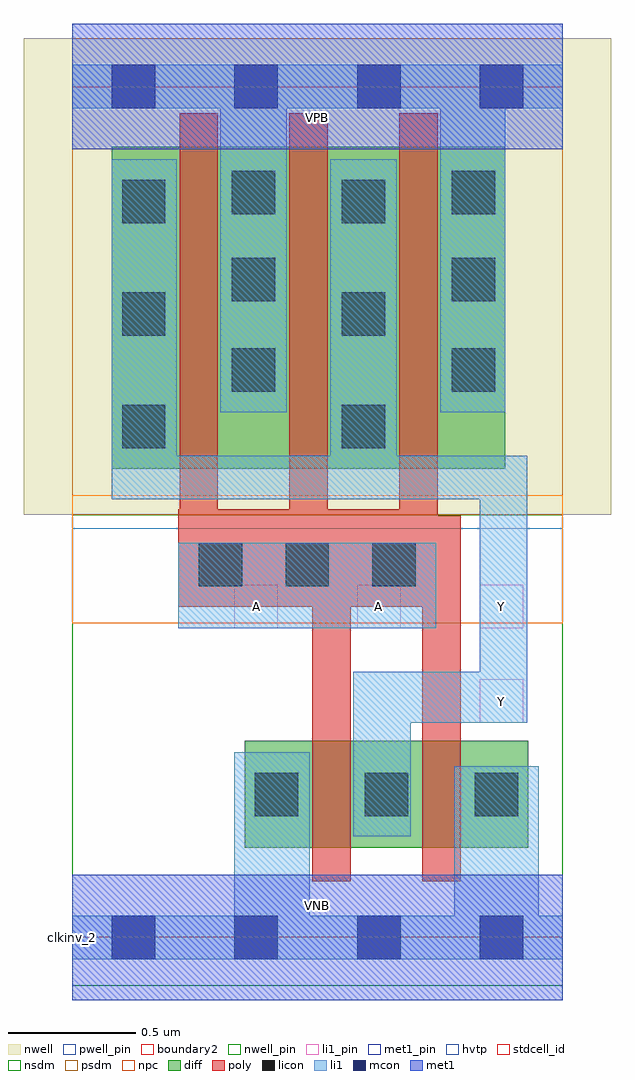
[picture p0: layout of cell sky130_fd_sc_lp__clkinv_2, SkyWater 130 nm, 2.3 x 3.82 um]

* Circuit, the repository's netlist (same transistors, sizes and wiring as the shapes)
* Copyright 2020 The SkyWater PDK Authors
*
* Licensed under the Apache License, Version 2.0 (the "License");
* you may not use this file except in compliance with the License.
* You may obtain a copy of the License at
*
*     https://www.apache.org/licenses/LICENSE-2.0
*
* Unless required by applicable law or agreed to in writing, software
* distributed under the License is distributed on an "AS IS" BASIS,
* WITHOUT WARRANTIES OR CONDITIONS OF ANY KIND, either express or implied.
* See the License for the specific language governing permissions and
* limitations under the License.
*
* SPDX-License-Identifier: Apache-2.0

.SUBCKT sky130_fd_sc_lp__clkinv_2 A VGND VNB VPB VPWR Y
*.PININFO A:I VGND:I VNB:I VPB:I VPWR:I Y:O
MMIN0 Y A VGND VNB sky130_fd_pr__nfet_01v8 m=2 w=0.42U l=0.15U mult=1 sa=0.265
+ sb=0.265 sd=0.28 area=0.063 perim=1.14
MMIP0 Y A VPWR VPB sky130_fd_pr__pfet_01v8_hvt m=3 w=1.26U l=0.15U mult=1 sa=0.265
+ sb=0.265 sd=0.28 area=0.063 perim=1.14
.ENDS sky130_fd_sc_lp__clkinv_2

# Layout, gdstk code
import gdstk
lib = gdstk.Library(unit=1e-6, precision=1e-09)
def R(c, l, rs):  # rectangles x0, y0, x1, y1
    for r in rs: c.add(gdstk.rectangle(r[:2], r[2:], *l))
def A(c, l, x, y, w, h, nx, ny, dx, dy):  # array of equal rectangles
    R(c, l, [(x+i*dx, y+j*dy, x+i*dx+w, y+j*dy+h) for i in range(nx) for j in range(ny)])
def P(c, l, *ps):  # polygons
    for p in ps: c.add(gdstk.Polygon(p, *l))
nwell_pin = (64, 16)
nwell = (64, 20)
diff = (65, 20)
poly = (66, 20)
licon = (66, 44)
li1_pin = (67, 16)
li1 = (67, 20)
mcon = (67, 44)
met1_pin = (68, 16)
met1 = (68, 20)
hvtp = (78, 44)
stdcell_id = (81, 4)
nsdm = (93, 44)
psdm = (94, 20)
npc = (95, 20)
pwell_pin = (122, 16)
boundary2 = (236, 0)

sky130_fd_sc_lp__clkinv_ = lib.new_cell('sky130_fd_sc_lp__clkinv_2')
R(sky130_fd_sc_lp__clkinv_, nwell_pin, [(0,3.085,1.92,3.33)])
R(sky130_fd_sc_lp__clkinv_, nwell, [(-0.19,1.655,2.11,3.52)])
R(sky130_fd_sc_lp__clkinv_, diff, [(0.675,0.35,1.785,0.77), (0.155,1.835,1.695,3.095)])
P(sky130_fd_sc_lp__clkinv_, poly, [(1.52,1.65),(1.43,1.65),(1.43,3.225),(1.28,3.225),(1.28,1.675),(1,1.675),(1,3.225),(0.85,3.225),(0.85,1.675),(0.57,1.675),(0.57,3.225),(0.42,3.225),(0.42,1.675),(0.415,1.675),(0.415,1.295),(0.94,1.295),(0.94,0.22),(1.09,0.22),(1.09,1.295),(1.37,1.295),(1.37,0.22),(1.52,0.22)])
A(sky130_fd_sc_lp__clkinv_, licon, 0.715, 0.475, 0.17, 0.17, 3, 1, 0.43, 0)
A(sky130_fd_sc_lp__clkinv_, licon, 0.495, 1.375, 0.17, 0.17, 3, 1, 0.34, 0)
A(sky130_fd_sc_lp__clkinv_, licon, 0.195, 1.915, 0.17, 0.17, 1, 3, 0, 0.44)
A(sky130_fd_sc_lp__clkinv_, licon, 1.055, 1.915, 0.17, 0.17, 1, 3, 0, 0.44)
R(sky130_fd_sc_lp__clkinv_, licon, [(0.625,2.135,0.795,2.305), (1.485,2.135,1.655,2.305), (0.625,2.49,0.795,2.66), (1.485,2.49,1.655,2.66), (0.625,2.83,0.795,3), (1.485,2.83,1.655,3)])
A(sky130_fd_sc_lp__clkinv_, li1_pin, 0.635, 1.21, 0.17, 0.17, 3, 1, 0.48, 0)
R(sky130_fd_sc_lp__clkinv_, li1_pin, [(1.595,0.84,1.765,1.01)])
R(sky130_fd_sc_lp__clkinv_, li1, [(0.415,1.21,1.425,1.545)])
P(sky130_fd_sc_lp__clkinv_, li1, [(1.78,1.885),(1.27,1.885),(1.27,3.045),(1.01,3.045),(1.01,1.885),(0.41,1.885),(0.41,3.045),(0.155,3.045),(0.155,1.715),(1.595,1.715),(1.595,1.04),(1.1,1.04),(1.1,0.395),(1.325,0.395),(1.325,0.84),(1.78,0.84)],
  [(1.92,3.415),(0,3.415),(0,3.245),(0.58,3.245),(0.58,2.055),(0.84,2.055),(0.84,3.245),(1.44,3.245),(1.44,2.055),(1.695,2.055),(1.695,3.245),(1.92,3.245)],
  [(1.92,0.085),(1.825,0.085),(1.825,0.67),(1.495,0.67),(1.495,0.085),(0.93,0.085),(0.93,0.725),(0.635,0.725),(0.635,0.085),(0,0.085),(0,-0.085),(1.92,-0.085)])
A(sky130_fd_sc_lp__clkinv_, mcon, 0.155, -0.085, 0.17, 0.17, 4, 2, 0.48, 3.33)
R(sky130_fd_sc_lp__clkinv_, met1_pin, [(0,0,1.92,0.245), (0,3.085,1.92,3.33)])
R(sky130_fd_sc_lp__clkinv_, met1, [(0,-0.245,1.92,0.245), (0,3.085,1.92,3.575)])
R(sky130_fd_sc_lp__clkinv_, hvtp, [(0,1.6,1.92,3.33)])
R(sky130_fd_sc_lp__clkinv_, stdcell_id, [(0,0,1.92,3.33)])
R(sky130_fd_sc_lp__clkinv_, nsdm, [(0,-0.19,1.92,1.655)])
R(sky130_fd_sc_lp__clkinv_, psdm, [(0,1.655,1.92,3.52)])
R(sky130_fd_sc_lp__clkinv_, npc, [(0,1.23,1.92,1.73)])
R(sky130_fd_sc_lp__clkinv_, pwell_pin, [(0,0,1.92,0.245)])
R(sky130_fd_sc_lp__clkinv_, boundary2, [(0,0,1.92,3.33)])
sky130_fd_sc_lp__clkinv_.add(gdstk.Label('VNB', (0.96,0.123), layer=64, texttype=59))
sky130_fd_sc_lp__clkinv_.add(gdstk.Label('VPB', (0.96,3.208), layer=64, texttype=5))
sky130_fd_sc_lp__clkinv_.add(gdstk.Label('clkinv_2', (0,0), layer=83, texttype=44))
sky130_fd_sc_lp__clkinv_.add(gdstk.Label('VPWR', (0.96,3.208), layer=68, texttype=5))
sky130_fd_sc_lp__clkinv_.add(gdstk.Label('VGND', (0.96,0.123), layer=68, texttype=5))
sky130_fd_sc_lp__clkinv_.add(gdstk.Label('A', (0.72,1.295), layer=67, texttype=5))
sky130_fd_sc_lp__clkinv_.add(gdstk.Label('A', (1.2,1.295), layer=67, texttype=5))
sky130_fd_sc_lp__clkinv_.add(gdstk.Label('Y', (1.68,0.925), layer=67, texttype=5))
sky130_fd_sc_lp__clkinv_.add(gdstk.Label('Y', (1.68,1.295), layer=67, texttype=5))

lib.write_gds('sky130_fd_sc_lp__clkinv_2.gds')
